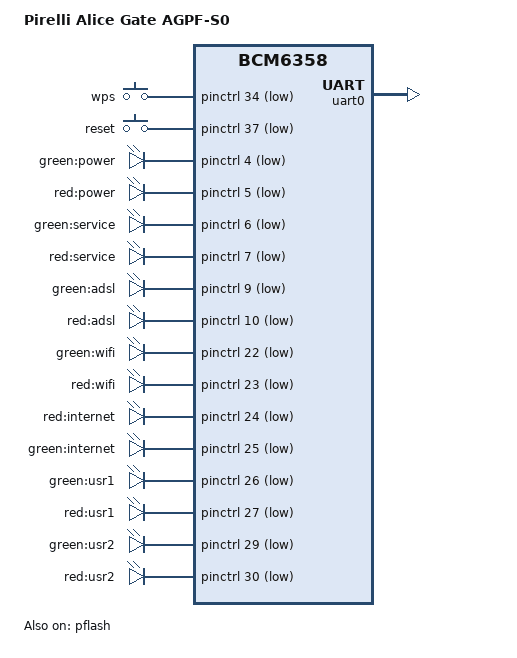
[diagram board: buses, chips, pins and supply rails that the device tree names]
#include "bcm6358.dtsi"

#include <dt-bindings/input/input.h>

/ {
	model = "Pirelli Alice Gate AGPF-S0";
	compatible = "pirelli,agpf-s0", "brcm,bcm6358";

	chosen {
		bootargs = "rootfstype=squashfs,jffs2 noinitrd console=ttyS0,115200";
		stdout-path = "serial0:115200n8";
	};

	keys {
		compatible = "gpio-keys-polled";
		#address-cells = <1>;
		#size-cells = <0>;
		poll-interval = <20>;

		wps {
			label = "wps";
			gpios = <&pinctrl 34 1>;
			linux,code = <KEY_WPS_BUTTON>;
			debounce-interval = <60>;
		};

		reset {
			label = "reset";
			gpios = <&pinctrl 37 1>;
			linux,code = <KEY_RESTART>;
			debounce-interval = <60>;
		};
	};

	leds {
		compatible = "gpio-leds";

		power_green {
			label = "green:power";
			gpios = <&pinctrl 4 1>;
			default-state = "on";
		};
		power_red {
			label = "red:power";
			gpios = <&pinctrl 5 1>;
		};
		service_green {
			label = "green:service";
			gpios = <&pinctrl 6 1>;
		};
		service_red {
			label = "red:service";
			gpios = <&pinctrl 7 1>;
		};
		dsl_green {
			label = "green:adsl";
			gpios = <&pinctrl 9 1>;
		};
		dsl_red {
			label = "red:adsl";
			gpios = <&pinctrl 10 1>;
		};
		wifi_green {
			label = "green:wifi";
			gpios = <&pinctrl 22 1>;
		};
		wifi_red {
			label = "red:wifi";
			gpios = <&pinctrl 23 1>;
		};
		inet_red {
			label = "red:internet";
			gpios = <&pinctrl 24 1>;
		};
		inet_green {
			label = "green:internet";
			gpios = <&pinctrl 25 1>;
		};
		usr1_green {
			label = "green:usr1";
			gpios = <&pinctrl 26 1>;
		};
		usr1_red {
			label = "red:usr1";
			gpios = <&pinctrl 27 1>;
		};
		usr2_green {
			label = "green:usr2";
			gpios = <&pinctrl 29 1>;
		};
		usr2_red {
			label = "red:usr2";
			gpios = <&pinctrl 30 1>;
		};
	};
};

&pflash {
	status = "okay";

	partitions {
		compatible = "fixed-partitions";
		#address-cells = <1>;
		#size-cells = <1>;

		cfe@0 {
			label = "CFE";
			reg = <0x000000 0x020000>;
			read-only;
		};

		linux@20000 {
			label = "linux";
			reg = <0x020000 0xfc0000>;
			compatible = "brcm,bcm963xx-imagetag";
		};

		nvram@fe0000 {
			label = "nvram";
			reg = <0xfe0000 0x020000>;
		};
	};
};

&uart0 {
	status = "okay";
};
